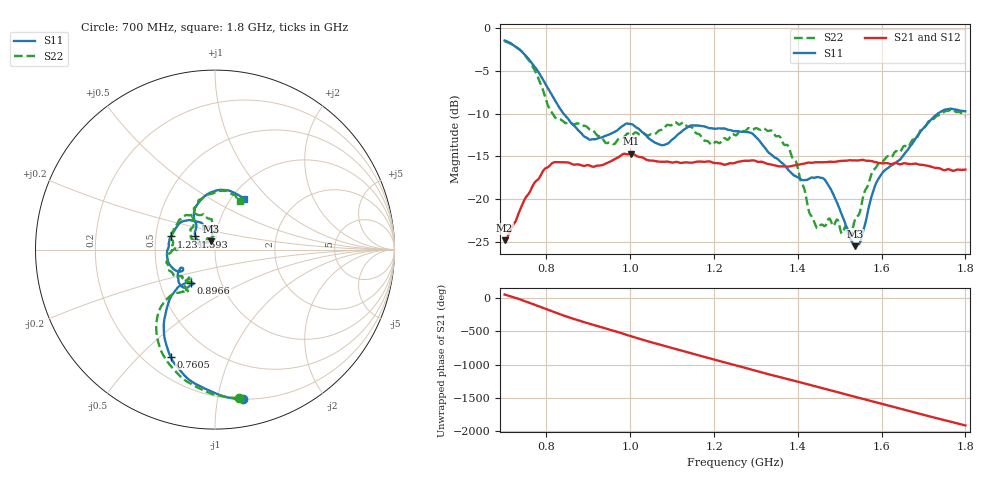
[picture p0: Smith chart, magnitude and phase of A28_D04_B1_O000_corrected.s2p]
! Created with skrf 1.9.0 (http://scikit-rf.org).
# Hz S RI R 50.0
!freq ReS11 ImS11 ReS21 ImS21 ReS12 ImS12 ReS22 ImS22
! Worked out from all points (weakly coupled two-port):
!   1601 points, 700 MHz to 1.8 GHz, reference 50 ohm
!   highest |S21| = -14.66 dB at 1.002 GHz (marker M1); lowest = -24.8 dB at 700 MHz (marker M2)
!   lowest |S11| = -25.5 dB at 1.537 GHz (marker M3), VSWR 1.11, Z = 47.4 + j4.5 ohm
!   |S11| at or under -10 dB: 840.8 MHz to 1.734 GHz (893 MHz wide, 69.4 % of centre)
!   |S22| runs from -24.3 to -1.5 dB; largest |S21 - S12| = 0.0032
!   S11 on the Smith chart (normalised r, x): 700 MHz: 0.20, -1.19; 760.5 MHz: 0.31, -0.62; 896.6 MHz: 0.72, -0.28; 1.231 GHz: 0.60, +0.09; 1.593 GHz: 0.79, +0.12; 1.8 GHz: 1.14, +0.72
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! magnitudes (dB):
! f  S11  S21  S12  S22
! 700 MHz  -1.4  -24.8  -24.6  -1.5
! 760.5 MHz  -3.8  -19.1  -19.0  -3.9
! 819.6 MHz  -8.4  -15.7  -15.8  -10.4
! 883.6 MHz  -12.3  -16.0  -15.9  -11.4
! 896.6 MHz  -12.8  -16.0  -16.1  -11.5
! 944.1 MHz  -12.5  -15.8  -15.8  -13.4
! 1.002 GHz  -11.2  -14.7  -14.8  -12.5
! 1.067 GHz  -13.5  -15.6  -15.6  -12.0
! 1.145 GHz  -11.4  -15.7  -15.8  -11.5
! 1.231 GHz  -11.8  -15.9  -15.8  -13.0
! 1.25 GHz  -12.1  -15.8  -15.7  -12.5
! 1.357 GHz  -15.6  -16.2  -16.1  -12.7
! 1.396 GHz  -17.3  -16.0  -16.0  -15.6
! 1.434 GHz  -17.5  -15.7  -15.7  -22.1
! 1.471 GHz  -18.3  -15.7  -15.6  -22.5
! 1.525 GHz  -24.6  -15.5  -15.4  -24.3
! 1.537 GHz  -25.5  -15.5  -15.5  -22.4
! 1.55 GHz  -24.8  -15.4  -15.4  -21.0
! 1.593 GHz  -17.6  -15.8  -15.7  -15.8
! 1.617 GHz  -16.3  -15.8  -15.8  -15.0
! 1.733 GHz  -10.0  -16.3  -16.4  -10.2
! 1.8 GHz  -9.7  -16.5  -16.5  -10.3
